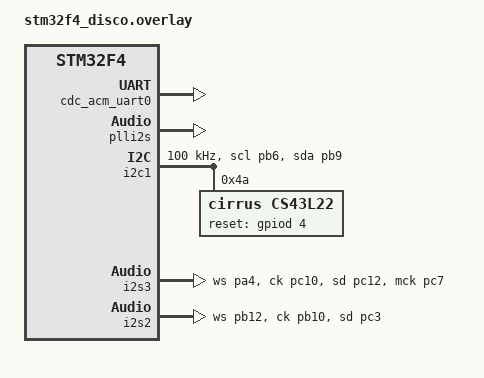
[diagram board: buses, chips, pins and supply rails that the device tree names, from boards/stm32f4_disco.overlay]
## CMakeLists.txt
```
cmake_minimum_required(VERSION 3.20.0)

find_package(Zephyr REQUIRED HINTS $ENV{ZEPHYR_BASE})
project(audio_pipeline LANGUAGES C ASM)

target_include_directories(app PRIVATE src)

target_compile_options(app PRIVATE
    -Wextra
    -Wshadow
    -Wconversion
    -Wundef
    -Wstrict-prototypes
)

target_sources(app PRIVATE
    src/main.c
    src/audio_pipeline.c
    src/dsp_filters.c
)

add_subdirectory(filter)
```

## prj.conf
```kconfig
CONFIG_I2S=y
CONFIG_DMA=y
CONFIG_I2C=y
CONFIG_GPIO=y

# Console and Logging Configuration (USB CDC ACM on CN5)
CONFIG_SERIAL=y
CONFIG_CONSOLE=y
CONFIG_UART_CONSOLE=y
CONFIG_STDOUT_CONSOLE=y
CONFIG_UART_LINE_CTRL=y
CONFIG_PRINTK=y
CONFIG_LOG=y
CONFIG_LOG_DEFAULT_LEVEL=3
CONFIG_LOG_MODE_DEFERRED=y
CONFIG_LOG_BUFFER_SIZE=4096
CONFIG_I2S_LOG_LEVEL_OFF=y

# USB Device Stack for CN5 (Micro-USB)
CONFIG_USB_DEVICE_STACK=y
CONFIG_USB_CDC_ACM=y
CONFIG_USB_DEVICE_INITIALIZE_AT_BOOT=y
#for dsp 
CONFIG_CMSIS_DSP=y
CONFIG_CMSIS_DSP_FILTERING=y
CONFIG_CMSIS_DSP_TRANSFORM=y
```

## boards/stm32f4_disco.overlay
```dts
/* boards/stm32f4_disco.overlay */

/ {
    chosen {
        zephyr,console = &cdc_acm_uart0;
        zephyr,shell-uart = &cdc_acm_uart0;
    };
};

&zephyr_udc0 {
    cdc_acm_uart0: cdc_acm_uart0 {
        compatible = "zephyr,cdc-acm-uart";
    };
};

/* 1. Enable Audio PLL for 48 kHz (8 MHz / 8 * 258 / 3 = 86 MHz) */
&plli2s {
    div-m = <8>;
    mul-n = <258>;
    div-r = <3>;
    status = "okay";
};

/* 2. Control Plane: I2C1 for CS43L22 DAC Registers (PB6=SCL, PB9=SDA) */
&i2c1 {
    status = "okay";
    pinctrl-0 = <&i2c1_scl_pb6 &i2c1_sda_pb9>;
    pinctrl-names = "default";
    clock-frequency = <I2C_BITRATE_STANDARD>;

    cs43l22: cs43l22@4a {
        compatible = "cirrus,cs43l22";
        reg = <0x4a>;
        reset-gpios = <&gpiod 4 GPIO_ACTIVE_HIGH>;
    };
};

/* 3. Data Plane TX: I2S3 Master driving on-board CS43L22 DAC */
&i2s3 {
    status = "okay";
    pinctrl-0 = <&i2s3_ws_pa4 &i2s3_ck_pc10 &i2s3_sd_pc12 &i2s3_mck_pc7>;
    pinctrl-names = "default";
    /* DMA1, Stream 5, Channel 0: Memory-to-Peripheral (TX) */
    dmas = <&dma1 5 0 0x400 0x3>, /* TX: Stream 5, Channel 0 */
           <&dma1 0 0 0x400 0x3>; /* RX: Stream 0, Channel 0 */
    dma-names = "tx", "rx";
    mck-enabled;
};

/* 4. Data Plane RX: I2S2 configured for DMA RX (DMA1, Stream 3, Channel 0) */
&i2s2 {
    status = "okay";
    pinctrl-0 = <&i2s2_ws_pb12 &i2s2_ck_pb10 &i2s2_sd_pc3>;
    pinctrl-names = "default";
    clocks = <&rcc STM32_CLOCK(APB1, 14)>,
             <&rcc STM32_SRC_PLLI2S_R I2S_SEL(0)>;
    /* DMA1, Stream 3, Channel 0: Peripheral-to-Memory (RX) */
    dmas = <&dma1 4 0 0x400 0x3>, /* TX: Stream 4, Channel 0 */
           <&dma1 3 0 0x400 0x3>; /* RX: Stream 3, Channel 0 */
    dma-names = "tx", "rx";
};
```

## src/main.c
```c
#include <zephyr/kernel.h>
#include <zephyr/device.h>
#include <zephyr/drivers/gpio.h>
#include <zephyr/drivers/i2c.h>
#include <zephyr/drivers/i2s.h>
#include <zephyr/drivers/uart.h>
#include <zephyr/logging/log.h>
#include <string.h>
#include "audio_pipeline.h"

LOG_MODULE_REGISTER(main_boot, LOG_LEVEL_INF);

#define CS43L22_I2C_ADDR  0x4AU

static const struct gpio_dt_spec dac_reset = GPIO_DT_SPEC_GET(DT_NODELABEL(cs43l22), reset_gpios);

static int cs43l22_write_reg(const struct device *i2c_dev, uint8_t reg_addr, uint8_t value)
{
    uint8_t data[2] = {reg_addr, value};
    int ret = i2c_write(i2c_dev, data, sizeof(data), CS43L22_I2C_ADDR);
    if (ret < 0) {
        LOG_ERR("CS43L22 write reg 0x%02X failed: %d", reg_addr, ret);
    }
    return ret;
}

static int cs43l22_init(const struct device *i2c_dev)
{
    int ret = 0;
    gpio_pin_configure_dt(&dac_reset, GPIO_OUTPUT_INACTIVE);
    k_msleep(5);
    gpio_pin_set_dt(&dac_reset, 1);
    k_msleep(10);

    /* Step 1: Power down before configuration */
    ret |= cs43l22_write_reg(i2c_dev, 0x02, 0x01);

    /* Step 2: Required "magic" init sequence (from CS43L22 datasheet errata / ST BSP) */
    ret |= cs43l22_write_reg(i2c_dev, 0x00, 0x99);
    ret |= cs43l22_write_reg(i2c_dev, 0x47, 0x80);
    ret |= cs43l22_write_reg(i2c_dev, 0x32, 0x80);
    ret |= cs43l22_write_reg(i2c_dev, 0x32, 0x00);
    ret |= cs43l22_write_reg(i2c_dev, 0x00, 0x00);

    /* Step 3: Power Control 2: Headphone channels always ON, speaker always OFF */
    ret |= cs43l22_write_reg(i2c_dev, 0x04, 0xAF);

    /* Step 4: Clocking Control: Auto-detect MCLK, MCLK divided by 2 (12.288 MHz -> 6.144 MHz) */
    ret |= cs43l22_write_reg(i2c_dev, 0x05, 0x81);

    /* Step 5: Interface Control 1: I2S format, 16-bit word length */
    ret |= cs43l22_write_reg(i2c_dev, 0x06, 0x07);

    /* Step 6: Analog ZC and Soft Ramp (required for clean transitions, no pops) */
    ret |= cs43l22_write_reg(i2c_dev, 0x0A, 0x00);
    ret |= cs43l22_write_reg(i2c_dev, 0x0E, 0x04);

    /* Step 7: Limiter/Noise Gate — disable */
    ret |= cs43l22_write_reg(i2c_dev, 0x27, 0x00);

    /* Step 8: PCM channel volume: 0x00 = 0 dB (digital path, before DAC) */
    ret |= cs43l22_write_reg(i2c_dev, 0x1A, 0x00); /* PCM A */
    ret |= cs43l22_write_reg(i2c_dev, 0x1B, 0x00); /* PCM B */

    /* Step 9: Master Volume A/B: 0x00 = 0 dB
     * IMPORTANT: 0x19..0xFF = negative / muted. 0x00 = 0 dB, 0x18 = +12 dB.
     * Previous value 0xF4 was ~-103 dB (essentially muted — silent output!) */
    ret |= cs43l22_write_reg(i2c_dev, 0x20, 0x00); /* Master A: 0 dB */
    ret |= cs43l22_write_reg(i2c_dev, 0x21, 0x00); /* Master B: 0 dB */

    /* Step 10: Power Control 1: Power Up */
    ret |= cs43l22_write_reg(i2c_dev, 0x02, 0x9E);

    if (ret == 0) {
        LOG_INF("CS43L22 DAC initialized and powered up successfully!");
    } else {
        LOG_ERR("CS43L22 DAC initialization encountered errors!");
    }
    return ret;
}

int main(void)
{
    /* If USB CDC-ACM console is used, wait briefly for host terminal DTR */
    const struct device *const console_dev = DEVICE_DT_GET(DT_CHOSEN(zephyr_console));
    if (device_is_ready(console_dev)) {
        uint32_t dtr = 0;
        for (int i = 0; i < 25 && !dtr; i++) {
            uart_line_ctrl_get(console_dev, UART_LINE_CTRL_DTR, &dtr);
            k_msleep(100);
        }
    }

    LOG_INF("=== STM32F4 Audio Pipeline Boot Sequence ===");

    const struct device *i2c_dev    = DEVICE_DT_GET(DT_NODELABEL(i2c1));
    const struct device *i2s_tx_dev = DEVICE_DT_GET(DT_NODELABEL(i2s3));
    const struct device *i2s_rx_dev = DEVICE_DT_GET(DT_NODELABEL(i2s2));

    if (!device_is_ready(i2c_dev) || !device_is_ready(i2s_tx_dev) || !device_is_ready(i2s_rx_dev)) {
        LOG_ERR("Audio peripherals not ready!");
        return -EIO;
    }
    LOG_INF("Audio peripherals ready: I2C1, I2S3 (TX), I2S2 (RX)");

    struct i2s_config tx_cfg = {
        .word_size      = SAMPLE_BIT_WIDTH,
        .channels       = NUM_CHANNELS,
        .format         = I2S_FMT_DATA_FORMAT_I2S,
        .options        = I2S_OPT_BIT_CLK_MASTER | I2S_OPT_FRAME_CLK_MASTER,
        .frame_clk_freq = SAMPLE_RATE,
        .mem_slab       = &pcm_tx_slab,
        .block_size     = PCM_BYTES_PER_BLOCK,
        .timeout        = 200,
    };

    struct i2s_config rx_cfg = {
        .word_size      = SAMPLE_BIT_WIDTH,
        .channels       = NUM_CHANNELS,
        .format         = I2S_FMT_DATA_FORMAT_I2S | I2S_FMT_BIT_CLK_INV,
        .options        = I2S_OPT_BIT_CLK_MASTER | I2S_OPT_FRAME_CLK_MASTER,
        .frame_clk_freq = 96000U,
        .mem_slab       = &pdm_rx_slab,
        .block_size     = PDM_BYTES_PER_BLOCK,
        .timeout        = 200,
    };

    if (i2s_configure(i2s_tx_dev, I2S_DIR_TX, &tx_cfg) < 0 ||
        i2s_configure(i2s_rx_dev, I2S_DIR_RX, &rx_cfg) < 0) {
        LOG_ERR("I2S configuration failed!");
        return -EIO;
    }
    LOG_INF("I2S interfaces configured (48 kHz, 16-bit stereo)");

    /* CS43L22 DAC: MCLK was already enabled by i2s_configure() on PC7.
     * Initialize DAC registers and power it up before starting audio streaming. */
    cs43l22_init(i2c_dev);

    dsp_filter_init();

    /* Pre-prime 2 blocks directly into I2S TX DMA queue so DMA has immediate buffers */
    for (int i = 0; i < 2; i++) {
        void *tx_block;
        if (k_mem_slab_alloc(&pcm_tx_slab, &tx_block, K_MSEC(100)) == 0) {
            int16_t *s = (int16_t *)tx_block;
            for (int n = 0; n < SAMPLES_PER_BLOCK; n += 2) {
                int16_t v = sine_500hz_table[(n / 2) % 96];
                s[n]     = v;   /* Left  */
                s[n + 1] = v;   /* Right */
            }
            if (i2s_write(i2s_tx_dev, tx_block, PCM_BYTES_PER_BLOCK) < 0) {
                k_mem_slab_free(&pcm_tx_slab, tx_block);
                LOG_ERR("TX pre-prime i2s_write failed!");
            }
        }
    }
    LOG_INF("TX DMA queue pre-primed with 2 sine-wave blocks");

    /* Trigger both RX (mic PDM) and TX (DAC PCM) DMA streams BEFORE starting threads.
     * Hardware is actively streaming so RX/TX threads never block on inactive streams. */
    i2s_trigger(i2s_rx_dev, I2S_DIR_RX, I2S_TRIGGER_START);
    i2s_trigger(i2s_tx_dev, I2S_DIR_TX, I2S_TRIGGER_START);
    LOG_INF("I2S TX and RX streams triggered — DMA hardware active.");

    /* NOW pre-prime dsp_output_q and unblock audio pipeline threads */
    audio_pipeline_start(i2s_rx_dev, i2s_tx_dev);
    return 0;
}
```

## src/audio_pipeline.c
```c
#include "audio_pipeline.h"
#include <zephyr/drivers/i2s.h>
#include <zephyr/logging/log.h>
#include <string.h>

LOG_MODULE_REGISTER(audio_pipeline, LOG_LEVEL_INF);

K_MEM_SLAB_DEFINE(pdm_rx_slab, PDM_BYTES_PER_BLOCK, BLOCK_COUNT, 4);
K_MEM_SLAB_DEFINE(pcm_tx_slab, PCM_BYTES_PER_BLOCK, BLOCK_COUNT, 4);

K_MSGQ_DEFINE(dsp_input_q, sizeof(void *), 4, 4);
K_MSGQ_DEFINE(dsp_output_q, sizeof(void *), 4, 4);

/* Precomputed 96-sample pure 500 Hz sine wave at 48 kHz (amplitude 8000) */
const int16_t sine_500hz_table[96] = {
       0,  523, 1044, 1560, 2070, 2571, 3061, 3538, 3999, 4444,
    4870, 5274, 5656, 6014, 6346, 6651, 6928, 7174, 7391, 7575,
    7727, 7846, 7931, 7982, 8000, 7982, 7931, 7846, 7727, 7575,
    7391, 7174, 6928, 6651, 6346, 6014, 5656, 5274, 4870, 4444,
    3999, 3538, 3061, 2571, 2070, 1560, 1044,  523,    0, -523,
   -1044,-1560,-2070,-2571,-3061,-3538,-3999,-4444,-4870,-5274,
   -5656,-6014,-6346,-6651,-6928,-7174,-7391,-7575,-7727,-7846,
   -7931,-7982,-8000,-7982,-7931,-7846,-7727,-7575,-7391,-7174,
   -6928,-6651,-6346,-6014,-5656,-5274,-4870,-4444,-4000,-3538,
   -3061,-2571,-2070,-1560,-1044, -523
};

static const struct device *dev_rx;
static const struct device *dev_tx;
static K_SEM_DEFINE(pipeline_start_sem, 0, 3);
static uint32_t mic_rx_count = 0;
static uint32_t dsp_tx_count = 0;

/* THREAD 1: Dedicated Microphone PDM RX Thread.
 * Completely independent of TX — runs whenever I2S2 DMA delivers a 2048-byte block.
 * Never blocked by TX backpressure, so pdm_rx_slab NEVER exhausts. */
static void audio_rx_thread(void *arg1, void *arg2, void *arg3)
{
    void *rx_ptr;
    size_t rx_size;
    int ret;

    k_sem_take(&pipeline_start_sem, K_FOREVER);
    LOG_INF("Audio RX thread active (mic DMA)");

    while (1) {
        ret = i2s_read(dev_rx, &rx_ptr, &rx_size);
        if (ret == 0) {
            mic_rx_count++;
            if (mic_rx_count <= 5) {
                LOG_INF("Mic RX block #%u captured (%u bytes)", mic_rx_count, (uint32_t)rx_size);
            }
            if (k_msgq_put(&dsp_input_q, &rx_ptr, K_NO_WAIT) != 0) {
                /* Queue full — discard oldest buffer back to slab so DMA never stalls */
                k_mem_slab_free(&pdm_rx_slab, rx_ptr);
            }
        } else if (ret == -EIO) {
            LOG_WRN("RX DMA stream error — re-triggering");
            i2s_trigger(dev_rx, I2S_DIR_RX, I2S_TRIGGER_PREPARE);
            i2s_trigger(dev_rx, I2S_DIR_RX, I2S_TRIGGER_START);
            k_msleep(2);
        }
    }
}

/* THREAD 2: Dedicated DAC PCM TX Thread.
 * Pulls processed audio blocks from dsp_output_q and feeds I2S3 TX DMA. */
static void audio_tx_thread(void *arg1, void *arg2, void *arg3)
{
    void *tx_ptr;
    int ret;

    k_sem_take(&pipeline_start_sem, K_FOREVER);
    LOG_INF("Audio TX thread active (DAC DMA)");

    while (1) {
        if (k_msgq_get(&dsp_output_q, &tx_ptr, K_FOREVER) == 0) {
            ret = i2s_write(dev_tx, tx_ptr, PCM_BYTES_PER_BLOCK);
            if (ret == -EIO) {
                LOG_WRN("TX DMA stream underrun — re-triggering");
                i2s_trigger(dev_tx, I2S_DIR_TX, I2S_TRIGGER_PREPARE);
                /* Put buffer into queue FIRST so DMA has data when START is triggered */
                int w_ret = i2s_write(dev_tx, tx_ptr, PCM_BYTES_PER_BLOCK);
                int t_ret = i2s_trigger(dev_tx, I2S_DIR_TX, I2S_TRIGGER_START);
                if (w_ret == 0 && t_ret == 0) {
                    dsp_tx_count++;
                } else {
                    k_mem_slab_free(&pcm_tx_slab, tx_ptr);
                }
            } else if (ret < 0) {
                /* Queue temporarily full (-EAGAIN / -EBUSY): free block without resetting */
                k_mem_slab_free(&pcm_tx_slab, tx_ptr);
            } else {
                dsp_tx_count++;
                if (dsp_tx_count <= 5) {
                    LOG_INF("DAC TX block #%u played", dsp_tx_count);
                }
            }
        }

        /* Periodic health report every ~200 blocks (~1.06 seconds) */
        if ((dsp_tx_count > 0) && (dsp_tx_count % 200 == 0)) {
            LOG_INF("Audio running: mic RX blocks=%u, DAC TX blocks=%u",
                    mic_rx_count, dsp_tx_count);
        }
    }
}

/* THREAD 3: DSP Worker Thread.
 * Processes real microphone blocks in lockstep with RX DMA. */
static void dsp_worker_thread(void *arg1, void *arg2, void *arg3)
{
    void *pdm_rx_ptr;
    void *pcm_tx_ptr;

    k_sem_take(&pipeline_start_sem, K_FOREVER);
    LOG_INF("DSP worker thread active");

    while (1) {
        /* Wait for captured PDM block from mic RX thread — strictly 1:1, no phantom silence blocks */
        if (k_msgq_get(&dsp_input_q, &pdm_rx_ptr, K_FOREVER) == 0) {
            if (k_mem_slab_alloc(&pcm_tx_slab, &pcm_tx_ptr, K_MSEC(10)) == 0) {
                process_mic_and_dsp((const uint16_t *)pdm_rx_ptr, (int16_t *)pcm_tx_ptr);
                k_mem_slab_free(&pdm_rx_slab, pdm_rx_ptr);

                if (k_msgq_put(&dsp_output_q, &pcm_tx_ptr, K_MSEC(10)) != 0) {
                    k_mem_slab_free(&pcm_tx_slab, pcm_tx_ptr);
                }
            } else {
                k_mem_slab_free(&pdm_rx_slab, pdm_rx_ptr);
            }
        }
    }
}

/* Thread definitions:
 * audio_tx_tid: Priority 1 — highest priority to guarantee DAC DMA never starves
 * audio_rx_tid: Priority 2 — high priority to immediately drain mic DMA buffers
 * dsp_work_tid: Priority 3 — runs heavy STFT / Wiener math with 8 KB stack */
K_THREAD_DEFINE(audio_tx_tid, 2048, audio_tx_thread, NULL, NULL, NULL, K_PRIO_PREEMPT(1), 0, 0);
K_THREAD_DEFINE(audio_rx_tid, 2048, audio_rx_thread, NULL, NULL, NULL, K_PRIO_PREEMPT(2), 0, 0);
K_THREAD_DEFINE(dsp_work_tid, 8192, dsp_worker_thread, NULL, NULL, NULL, K_PRIO_PREEMPT(3), 0, 0);

/* PUBLIC INIT */
void audio_pipeline_start(const struct device *i2s_rx, const struct device *i2s_tx)
{
    dev_rx = i2s_rx;
    dev_tx = i2s_tx;

    /* Pre-prime 2 blocks into dsp_output_q with smooth 500 Hz tone */
    for (int i = 0; i < 2; i++) {
        void *reserve_ptr;
        if (k_mem_slab_alloc(&pcm_tx_slab, &reserve_ptr, K_NO_WAIT) == 0) {
            int16_t *samples = (int16_t *)reserve_ptr;
            for (int s = 0; s < SAMPLES_PER_BLOCK; s += 2) {
                int16_t val = sine_500hz_table[(s / 2) % 96];
                samples[s]     = val;
                samples[s + 1] = val;
            }
            k_msgq_put(&dsp_output_q, &reserve_ptr, K_NO_WAIT);
        }
    }
    LOG_INF("Audio pipeline threads armed — 2 blocks primed in dsp_output_q");
    k_sem_give(&pipeline_start_sem);
    k_sem_give(&pipeline_start_sem);
    k_sem_give(&pipeline_start_sem);
}
```

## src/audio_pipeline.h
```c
#ifndef AUDIO_PIPELINE_H_
#define AUDIO_PIPELINE_H_

#include <zephyr/kernel.h>
#include <zephyr/device.h>
#include <stdint.h>
#include <stddef.h>

/* Core Timing & Frame Macros */
#define SAMPLE_RATE            48000U
#define SAMPLE_BIT_WIDTH       16U
#define BYTES_PER_SAMPLE       sizeof(int16_t)
#define NUM_CHANNELS           2U
#define AUDIO_CHANNELS         2U
#define FRAMES_PER_BLOCK       256U  /* Power of 2 for FFT */
#define SAMPLES_PER_BLOCK      (FRAMES_PER_BLOCK * AUDIO_CHANNELS) /* 512 */
#define BLOCK_SIZE             PCM_BYTES_PER_BLOCK                 /* 1024 Bytes */

/* Input Buffer Geometry (I2S2 PDM RX Slab) */
#define PDM_DECIMATION_FACTOR  64U
#define PDM_WORDS_PER_FRAME    (PDM_DECIMATION_FACTOR / 16U) /* 4 */
#define PDM_WORDS_PER_BLOCK    (FRAMES_PER_BLOCK * PDM_WORDS_PER_FRAME) /* 1024 */
#define PDM_BYTES_PER_BLOCK    (PDM_WORDS_PER_BLOCK * sizeof(uint16_t)) /* 2048 Bytes */

/* Output Buffer Geometry (I2S3 PCM TX Slab) */
#define PCM_SAMPLES_PER_BLOCK  (FRAMES_PER_BLOCK * AUDIO_CHANNELS) /* 512 */
#define PCM_BYTES_PER_BLOCK    (PCM_SAMPLES_PER_BLOCK * sizeof(int16_t)) /* 1024 Bytes */
/* DSP STFT MACROS*/
#define STFT_WINDOW_SIZE 512U
#define STFT_HOP_SIZE 256U
#define FFT_BINS 256U
/* Wiener Spectral Gate Tuning Parameters */
#define WIENER_BETA         2.0f    /* Over-subtraction factor */
#define WIENER_GAIN_FLOOR   0.08f   /* -22 dB floor to prevent musical noise */
#define NOISE_ALPHA_DOWN    0.90f   /* Fast track downward when room quiets */
#define NOISE_ALPHA_UP      0.9995f /* Slow creep upward during speech */
#define EPSILON             1e-12f  /* Prevent divide-by-zero */

#define BLOCK_COUNT 8U

/* Memory Slabs */
extern struct k_mem_slab audio_mem_slab;
extern struct k_mem_slab pdm_rx_slab;
extern struct k_mem_slab pcm_tx_slab;

void audio_pipeline_start(const struct device *i2s_rx, const struct device *i2s_tx);
void process_mic_and_dsp(const uint16_t *pdm_rx_buf, int16_t *pcm_tx_buf);
void process_audio_block(int16_t *interleaved_dma_buf);
void dsp_filter_init(void);

extern const int16_t sine_500hz_table[96];


#endif /* AUDIO_PIPELINE_H_ */
```

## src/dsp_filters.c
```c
#include "audio_pipeline.h"
#include <arm_math.h>
#include "pdm_decimator.h"
#include <string.h>
#include <math.h>

/* =========================================================================
 * PIPELINE PROCESSING MODE
 * Set ENABLE_STFT_DSP to 1 for full advanced real-time audio pipeline:
 *   CIC Decimator -> 512-pt WOLA STFT Wiener Gate -> Biquad Filters -> Studio Echo
 * Set to 0 for pristine low-latency direct mic loopback (verification mode):
 *   CIC Decimator -> DC Blocker -> Droop Compensator -> Direct DAC Loopback
 * ========================================================================= */
#define ENABLE_STFT_DSP 1

static pdm_decimator_t pdm_decimator;
static arm_rfft_fast_instance_f32 rfft_instance;

static arm_biquad_casd_df1_inst_f32 biquad_left;
static arm_biquad_casd_df1_inst_f32 biquad_right;

/* WOLA State Buffers */
__ccm_bss_section static float32_t stft_history[STFT_HOP_SIZE] __aligned(4);
__ccm_bss_section static float32_t stft_windowed[STFT_WINDOW_SIZE] __aligned(4);
__ccm_bss_section static float32_t stft_ola_buffer[STFT_HOP_SIZE] __aligned(4);
__ccm_bss_section static float32_t fft_bins[STFT_WINDOW_SIZE] __aligned(4);

/* Wiener Filter Noise Floor Tracker */
__ccm_bss_section static float32_t noise_floor_pwr[FFT_BINS] __aligned(4);
__ccm_bss_section static float32_t sqrt_hann_512[STFT_WINDOW_SIZE] __aligned(4);
__ccm_bss_section static float32_t mono_out[FRAMES_PER_BLOCK] __aligned(4);

__ccm_noinit_section static int16_t left_q15[FRAMES_PER_BLOCK] __aligned(4);
__ccm_noinit_section static int16_t right_q15[FRAMES_PER_BLOCK] __aligned(4);
__ccm_noinit_section static float32_t left_f32[FRAMES_PER_BLOCK] __aligned(4);
__ccm_noinit_section static float32_t right_f32[FRAMES_PER_BLOCK] __aligned(4);
__ccm_bss_section static float32_t echoline[4096] __aligned(4);
static uint32_t echo_idx = 0U;
__ccm_bss_section static float32_t biquad_state_l[4 * 2] __aligned(4);
__ccm_bss_section static float32_t biquad_state_r[4 * 2] __aligned(4);

/* Calibrated Biquad Cascade:
 * Stage 1: 150 Hz High-Pass (removes DC rumble and mic handling thump, exact 0 dB passband)
 * Stage 2: 3800 Hz Low-Pass (voice-band anti-aliasing filter, exact 0 dB passband) */
static const float32_t biquad_cofficient[10] = {
    /* Stage 1: HPF 150 Hz @ 48 kHz (b0, b1, b2, a1, a2) */
     0.9727f, -1.9454f,  0.9727f,  1.9722f, -0.9726f,
    /* Stage 2: LPF 3800 Hz @ 48 kHz (b0, b1, b2, a1, a2) */
     0.0453f,  0.0907f,  0.0453f,  1.3139f, -0.4953f
};

void dsp_filter_init(void)
{
    /* 1. Initialize CIC + DC Blocker + FIR Compensator */
    pdm_decimator_init(&pdm_decimator);

    /* 2. Initialize Left and Right Biquad Cascades */
    arm_biquad_cascade_df1_init_f32(&biquad_left, 2U, (float32_t *)biquad_cofficient, biquad_state_l);
    arm_biquad_cascade_df1_init_f32(&biquad_right, 2U, (float32_t *)biquad_cofficient, biquad_state_r);

    /* 3. Initialize 512-point Fast Real FFT */
    arm_rfft_fast_init_f32(&rfft_instance, STFT_WINDOW_SIZE);

    /* 4. Clear WOLA & Echo state buffers */
    memset(stft_history, 0, sizeof(stft_history));
    memset(stft_windowed, 0, sizeof(stft_windowed));
    memset(fft_bins, 0, sizeof(fft_bins));
    memset(stft_ola_buffer, 0, sizeof(stft_ola_buffer));
    memset(echoline, 0, sizeof(echoline));
    echo_idx = 0U;

    /* 5. Seed initial noise floor estimate */
    for (size_t k = 0; k < FFT_BINS; k++) {
        noise_floor_pwr[k] = 1e-5f;
    }

    /* 6. Periodic Square-Root Hann Window: sin(pi * n / N) */
    for (size_t n = 0; n < STFT_WINDOW_SIZE; n++) {
        sqrt_hann_512[n] = sinf((3.14159265358979323846f * (float32_t)n) / (float32_t)STFT_WINDOW_SIZE);
    }
}

void process_mic_and_dsp(const uint16_t *pdm_rx_buf, int16_t *pcm_tx_buf)
{
    /* Step 1: PDM Decimation (CIC + DC Blocker + Droop Compensator) */
    pdm_decimate_to_float(&pdm_decimator, pdm_rx_buf, mono_out, FRAMES_PER_BLOCK);

#if (!ENABLE_STFT_DSP)
    /* --- DIRECT CLEAN LOOPBACK (VERIFICATION MODE) ---
     * Bypasses STFT Wiener filter and echo so user hears pure raw microphone audio */
    arm_float_to_q15(mono_out, left_q15, FRAMES_PER_BLOCK);
    for (size_t i = 0; i < FRAMES_PER_BLOCK; i++) {
        pcm_tx_buf[2U * i]      = left_q15[i];
        pcm_tx_buf[2U * i + 1U] = left_q15[i];
    }
#else
    /* --- FULL ADVANCED DSP PIPELINE --- */
    /* 1. STFT Analysis with 50% Overlap */
    memcpy(&stft_windowed[0], stft_history, STFT_HOP_SIZE * sizeof(float32_t));
    memcpy(&stft_windowed[STFT_HOP_SIZE], mono_out, STFT_HOP_SIZE * sizeof(float32_t));
    memcpy(stft_history, mono_out, STFT_HOP_SIZE * sizeof(float32_t));

    arm_mult_f32(stft_windowed, sqrt_hann_512, stft_windowed, STFT_WINDOW_SIZE);
    arm_rfft_fast_f32(&rfft_instance, stft_windowed, fft_bins, 0);

    fft_bins[0] *= 0.25f;
    fft_bins[1] *= 0.25f;

    /* 2. Wiener Spectral Gate */
    for (size_t k = 1; k < FFT_BINS; k++) {
        float32_t re = fft_bins[2U * k];
        float32_t im = fft_bins[2U * k + 1U];
        float32_t pwr = (re * re) + (im * im);

        /* Asymmetric Noise Tracking: slow upward during speech, fast downward when quiet */
        if (pwr < noise_floor_pwr[k]) {
            noise_floor_pwr[k] = (0.90f * noise_floor_pwr[k]) + (0.10f * pwr);
        } else {
            noise_floor_pwr[k] = (0.999f * noise_floor_pwr[k]) + (0.001f * pwr);
        }

        /* Smooth continuous Wiener gain: G = P / (P + 1.2 * N) */
        float32_t noise = noise_floor_pwr[k];
        float32_t gain = pwr / (pwr + (1.2f * noise) + EPSILON);
        if (gain < 0.25f) {
            gain = 0.25f; /* Gentle -12 dB suppression floor — eliminates musical artifacts */
        }

        fft_bins[2U * k]      = re * gain;
        fft_bins[2U * k + 1U] = im * gain;
    }

    /* 3. Synthesis & Overlap-Add */
    arm_rfft_fast_f32(&rfft_instance, fft_bins, stft_windowed, 1);
    arm_mult_f32(stft_windowed, sqrt_hann_512, stft_windowed, STFT_WINDOW_SIZE);

    for (size_t i = 0; i < STFT_HOP_SIZE; i++) {
        mono_out[i]        = stft_windowed[i] + stft_ola_buffer[i];
        stft_ola_buffer[i] = stft_windowed[i + STFT_HOP_SIZE];
    }

    for (size_t i = 0; i < FRAMES_PER_BLOCK; i++) {
        left_f32[i]  = mono_out[i];
        right_f32[i] = mono_out[i];
    }

    /* 4. Dual Biquad Filter (HPF 150 Hz + LPF 3800 Hz) */
    arm_biquad_cascade_df1_f32(&biquad_left, left_f32, left_f32, FRAMES_PER_BLOCK);
    arm_biquad_cascade_df1_f32(&biquad_right, right_f32, right_f32, FRAMES_PER_BLOCK);

    /* 5. Circular Feedforward Echo (balanced studio reflection, ~85.3 ms delay) */
    for (size_t i = 0; i < FRAMES_PER_BLOCK; i++) {
        float32_t delayed = echoline[echo_idx];
        echoline[echo_idx] = left_f32[i];
        echo_idx = (echo_idx + 1U) & 4095U;

        left_f32[i]  = (0.80f * left_f32[i])  + (0.20f * delayed);
        right_f32[i] = (0.80f * right_f32[i]) + (0.20f * delayed);
    }

    /* 6. Convert to Q15 PCM & Interleave */
    arm_float_to_q15(left_f32, left_q15, FRAMES_PER_BLOCK);
    arm_float_to_q15(right_f32, right_q15, FRAMES_PER_BLOCK);
    for (size_t i = 0; i < FRAMES_PER_BLOCK; i++) {
        pcm_tx_buf[2U * i]      = left_q15[i];
        pcm_tx_buf[2U * i + 1U] = right_q15[i];
    }
#endif
}
```
